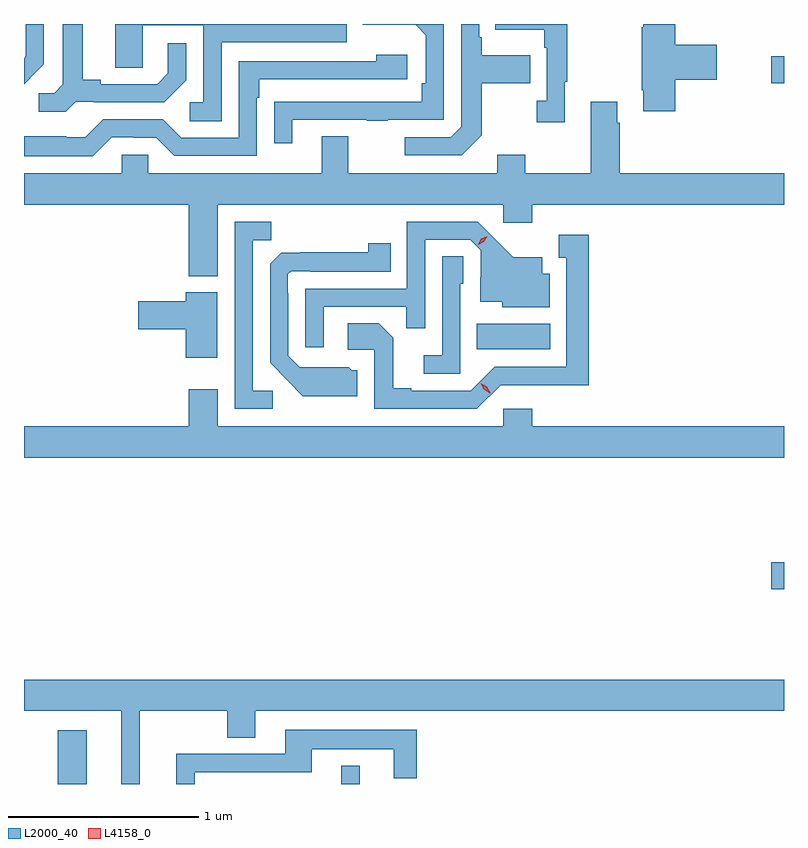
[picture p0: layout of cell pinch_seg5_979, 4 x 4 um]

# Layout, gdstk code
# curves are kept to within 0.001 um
import gdstk
lib = gdstk.Library(unit=1e-6, precision=1e-09)
def R(c, l, rs):  # rectangles x0, y0, x1, y1
    for r in rs: c.add(gdstk.rectangle(r[:2], r[2:], *l))
def P(c, l, *ps):  # polygons
    for p in ps: c.add(gdstk.Polygon(p, *l))
L2000_40 = (2000, 40)
L4158_0 = (4158, 0)

pinch_seg5_979 = lib.new_cell('pinch_seg5_979')
R(pinch_seg5_979, L2000_40, [(732.343,895.002,732.496,895.285), (733.835,895.002,733.933,895.099), (736.098,896.026,736.166,896.168), (734.548,897.29,734.935,897.424), (736.098,898.69,736.166,898.832)])
P(pinch_seg5_979, L2000_40, [(735.593,898.709),(735.811,898.709),(735.811,898.892),(735.593,898.892),(735.593,899.002),(735.425,899.002),(735.425,898.985),(735.418,898.985),(735.418,898.654),(735.425,898.654),(735.425,898.542),(735.593,898.542)],
  [(732.198,898.716),(732.197,898.717),(732.27,898.79),(732.27,899.002),(732.174,899.002),(732.174,898.954),(732.176,898.954),(732.176,898.832),(732.166,898.822),(732.166,898.684)],
  [(735.013,898.697),(735.025,898.697),(735.025,899.002),(734.647,899.002),(734.647,898.973),(734.904,898.973),(734.904,898.877),(734.916,898.877),(734.916,898.598),(734.865,898.598),(734.865,898.485),(735.013,898.485)],
  [(733.206,898.905),(733.865,898.905),(733.865,899.001),(733.225,899.001),(733.225,899.002),(732.647,899.002),(732.647,898.771),(732.792,898.771),(732.792,898.995),(733.11,898.995),(733.11,898.59),(733.038,898.59),(733.038,898.489),(733.206,898.489)],
  [(733.579,898.497),(733.969,898.497),(733.969,898.492),(734.081,898.492),(734.081,898.497),(734.376,898.497),(734.376,899.002),(733.95,899.002),(733.95,898.997),(734.227,898.997),(734.28,898.944),(734.28,898.69),(734.26,898.69),(734.26,898.593),(733.483,898.592),(733.483,898.374),(733.579,898.374)],
  [(734.575,898.417),(734.575,898.69),(734.831,898.69),(734.831,898.837),(734.575,898.837),(734.575,898.933),(734.562,898.933),(734.562,899.002),(734.466,899.002),(734.466,898.461),(734.412,898.407),(734.169,898.407),(734.169,898.311),(734.469,898.311)],
  [(732.438,898.593),(732.532,898.593),(732.532,898.59),(732.904,898.59),(733.02,898.706),(733.02,898.9),(732.923,898.9),(732.923,898.743),(732.866,898.686),(732.571,898.686),(732.571,898.709),(732.475,898.709),(732.475,899.002),(732.371,899.002),(732.371,898.685),(732.324,898.638),(732.243,898.638),(732.243,898.541),(732.386,898.541)],
  [(732.627,898.407),(732.743,898.407),(732.743,898.404),(732.861,898.404),(732.957,898.308),(733.392,898.308),(733.392,898.613),(733.405,898.613),(733.405,898.71),(734.182,898.71),(734.182,898.84),(734.021,898.84),(734.021,898.806),(733.296,898.806),(733.296,898.404),(732.993,898.404),(732.897,898.5),(732.582,898.5),(732.489,898.407),(732.389,898.407),(732.389,898.411),(732.166,898.411),(732.166,898.307),(732.527,898.307)],
  [(735.149,898.594),(735.149,898.216),(734.805,898.216),(734.805,898.315),(734.657,898.315),(734.657,898.216),(733.873,898.216),(733.873,898.411),(733.733,898.411),(733.733,898.216),(732.819,898.216),(732.819,898.314),(732.681,898.314),(732.681,898.216),(732.166,898.216),(732.166,898.052),(733.034,898.052),(733.034,897.674),(733.186,897.674),(733.186,898.052),(734.688,898.052),(734.688,897.957),(734.84,897.957),(734.84,898.052),(736.166,898.052),(736.166,898.216),(735.302,898.216),(735.302,898.481),(735.289,898.481),(735.289,898.594)],
  [(733.474,897.072),(733.371,897.072),(733.371,897.865),(733.467,897.865),(733.467,897.96),(733.275,897.96),(733.275,896.976),(733.474,896.976)],
  [(733.743,897.513),(734.179,897.513),(734.179,897.4),(734.277,897.4),(734.277,897.867),(734.514,897.867),(734.571,897.81),(734.571,897.668),(734.567,897.668),(734.567,897.539),(734.682,897.539),(734.682,897.512),(734.932,897.512),(734.932,897.688),(734.893,897.688),(734.893,897.775),(734.741,897.775),(734.554,897.96),(734.181,897.96),(734.181,897.609),(733.647,897.609),(733.647,897.3),(733.743,897.3)],
  [(734.676,897.102),(735.139,897.101),(735.139,897.892),(734.981,897.892),(734.981,897.771),(735.02,897.771),(735.02,897.198),(734.643,897.198),(734.517,897.072),(734.203,897.072),(734.203,897.085),(734.109,897.085),(734.109,897.352),(734.033,897.428),(733.869,897.428),(733.869,897.288),(734.01,897.288),(734.01,896.976),(734.55,896.976)],
  [(733.921,897.18),(733.89,897.18),(733.874,897.196),(733.617,897.195),(733.557,897.255),(733.557,897.584),(733.554,897.584),(733.554,897.684),(733.572,897.702),(733.672,897.702),(733.672,897.699),(734.096,897.699),(734.096,897.847),(733.978,897.847),(733.978,897.8),(733.52,897.799),(733.461,897.74),(733.461,897.218),(733.633,897.044),(733.921,897.044)],
  [(734.463,897.636),(734.478,897.636),(734.478,897.779),(734.367,897.779),(734.367,897.259),(734.271,897.259),(734.271,897.162),(734.463,897.162)],
  [(733.183,897.589),(733.016,897.589),(733.016,897.542),(732.768,897.542),(732.768,897.395),(733.016,897.395),(733.016,897.246),(733.183,897.246)],
  [(736.166,896.884),(734.84,896.884),(734.84,896.977),(734.688,896.977),(734.688,896.884),(733.186,896.884),(733.186,897.079),(733.034,897.079),(733.034,896.884),(732.166,896.884),(732.166,896.72),(736.166,896.72)],
  [(732.776,895.388),(733.237,895.388),(733.237,895.246),(733.384,895.246),(733.384,895.388),(736.166,895.388),(736.166,895.552),(732.166,895.552),(732.166,895.388),(732.677,895.388),(732.677,895.002),(732.776,895.002)],
  [(733.065,895.065),(733.681,895.065),(733.681,895.184),(734.111,895.184),(734.111,895.032),(734.233,895.032),(734.233,895.288),(733.541,895.288),(733.541,895.161),(732.968,895.161),(732.968,895.002),(733.065,895.002)])
P(pinch_seg5_979, L4158_0, [(734.618,897.059),(734.587,897.079),(734.57,897.111),(734.57,897.112),(734.57,897.112),(734.602,897.092),(734.619,897.06),(734.619,897.059)],
  [(734.556,897.841),(734.556,897.842),(734.573,897.871),(734.604,897.886),(734.604,897.886),(734.604,897.886),(734.587,897.857),(734.556,897.841)])

lib.write_gds('pinch_seg5_979.gds')
